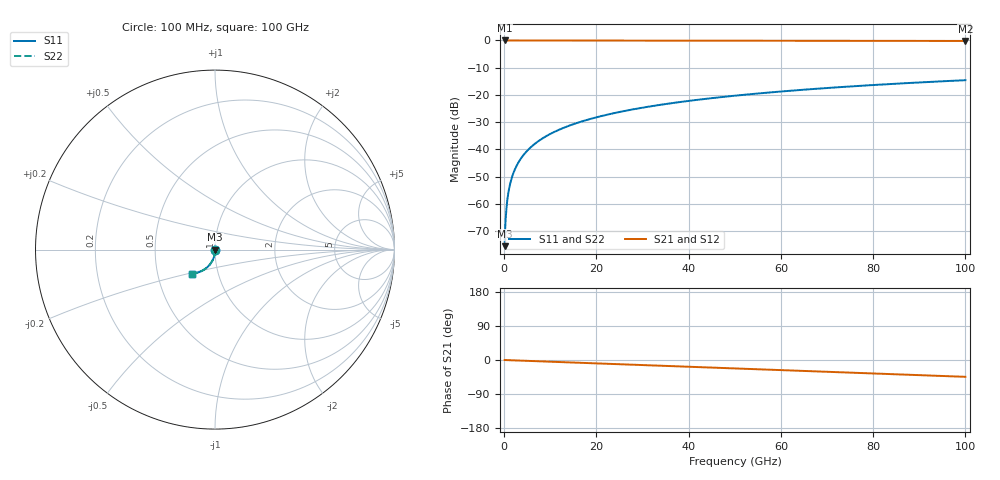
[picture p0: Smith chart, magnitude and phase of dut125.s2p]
! Touchstone file exported from HFSS 2026.1.0
!  File:  C:/ffzhzh/LocalFiles/Ansys_Project_Files/temp_train_TSV_125_1783506173_44152.aedt
!  Generated:  06:24:09 PM Jul  8, 2026
!  Design:  TSV
!  Project:  temp_train_TSV_125_1783506173_44152
! Variables:
!  h_bsmrdl = 2um
!  h_ox = 20um
!  h_rdl = 5um
!  h_sub = 89.01um
!  h_tmrdl = 5um
!  h_tsv = 89.01um
!  h_via = 3um
!  l_bsmrdl = 300um
!  l_sub = 429.82um
!  l_tmrdl = 200um
!  m_sub = 200um
!  pitch = 47.41um
!  r_tsv = 14.91um
!  s_tmrdl = 10um
!  w_bsmrdl = 18um
!  w_sub = 500um
!  w_tmrdl = 12um
!  x_tsv_center1 = 206um
!  x_tsv_center2 = 524um
!  x_tsv_center3 = 736um
!  x_tsv_center4 = 1054um
!  x_tsv_center5 = 1266um
!  x_tsv_center6 = 1584um
# GHz S MA R 50.000000
! Terminal data exported
! Port[1] = TSV1_1_T1
! Port[2] = TSV1_1_T2
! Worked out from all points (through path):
!   1000 points, 100 MHz to 100 GHz, reference 50 ohm
!   highest |S21| = 0.00 dB at 100 MHz (marker M1); lowest = -0.2 dB at 100 GHz (marker M2)
!   group delay of S21, straight-line fit = 1.23 ps
!   lowest |S11| = -75.5 dB at 100 MHz (marker M3), VSWR 1.00, Z = 50 - j0.0147 ohm
!   |S11| at or under -10 dB: start of sweep to end of sweep
!   |S22| runs from -75.5 to -14.6 dB; largest |S21 - S12| = 4.2e-15
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0.1  0.0001676 -61.4  0.9999 -0.0  0.9999 -0.0  0.0001676 -61.4
! Gamma 0 0 0 0
! Port Impedance 50 0 50 0
0.3  0.0004807 -75.3  0.9999 -0.1  0.9999 -0.1  0.0004807 -75.3
0.7  0.001206 -80.2  0.9998 -0.3  0.9998 -0.3  0.001206 -80.2
0.8  0.001394 -81.0  0.9998 -0.4  0.9998 -0.4  0.001394 -81.0
1  0.001771 -82.3  0.9997 -0.5  0.9997 -0.5  0.001771 -82.3
1.3  0.002339 -83.6  0.9997 -0.6  0.9997 -0.6  0.002339 -83.6
1.7  0.003097 -84.8  0.9997 -0.8  0.9997 -0.8  0.003097 -84.8
2.3  0.00424 -86.0  0.9996 -1.0  0.9996 -1.0  0.00424 -86.0
2.9  0.005392 -86.8  0.9996 -1.3  0.9996 -1.3  0.005392 -86.8
3.7  0.006937 -87.7  0.9995 -1.7  0.9995 -1.7  0.006937 -87.7
4.7  0.008879 -88.6  0.9994 -2.1  0.9994 -2.1  0.008879 -88.6
5.8  0.01102 -89.5  0.9993 -2.6  0.9993 -2.6  0.01102 -89.5
8.6  0.01649 -91.3  0.9991 -3.9  0.9991 -3.9  0.01649 -91.3
12.2  0.02354 -93.3  0.9988 -5.5  0.9988 -5.5  0.02354 -93.3
16.8  0.03257 -95.7  0.9984 -7.5  0.9984 -7.5  0.03257 -95.7
24.2  0.04706 -99.3  0.9976 -10.8  0.9976 -10.8  0.04706 -99.3
33.4  0.06498 -103.6  0.9964 -14.9  0.9964 -14.9  0.06498 -103.6
41.2  0.08004 -107.2  0.9951 -18.4  0.9951 -18.4  0.08004 -107.2
50.1  0.09703 -111.3  0.9934 -22.3  0.9934 -22.3  0.09703 -111.3
66.7  0.128 -118.8  0.9895 -29.7  0.9895 -29.7  0.128 -118.8
83.4  0.158 -126.3  0.9848 -37.1  0.9848 -37.1  0.158 -126.3
100  0.1865 -133.8  0.9792 -44.4  0.9792 -44.4  0.1865 -133.8
